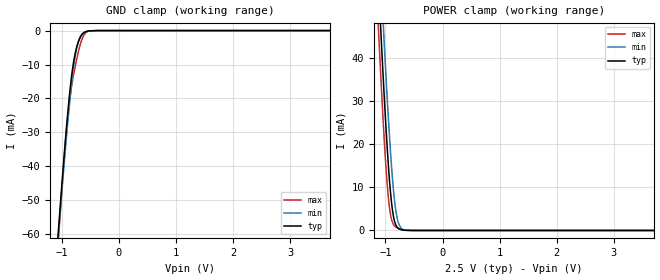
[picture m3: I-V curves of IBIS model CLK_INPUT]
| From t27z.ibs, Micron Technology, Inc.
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|   MODEL CLK_INPUT
[Model]   CLK_INPUT
Model_type   Input
Vinl = 0.940V
Vinh = 1.560V
|   typ   min   max
C_comp   1.59pF   1.2pF   1.99pF
[Model Spec]
| Input threshold voltage corners
Vinh   1.560V   1.460V   1.660V
Vinl   0.940V   0.840V   1.040V
| Overshoot/Undershoot
S_overshoot_high   2.800V   2.600V   3.000V
S_overshoot_low   -0.300V   NA   NA
[Receiver Thresholds]
Vcross_low   = 1.050V
Vcross_high  = 1.450V
Vdiff_ac   = 700mV
Vdiff_dc   = 360mV
Tdiffslew_ac = 10.000ns |Not specified, so set to high value
[Voltage Range]   2.500V   2.300V   2.700V
| Junction Temperature (Ambient temp is 25C typ, 70C min, 0C max)
[Temperature Range]   40.0   85.0   0.0
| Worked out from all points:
|   GND clamp passes 1 mA (typ) near -0.63 V on its own axis
|   POWER clamp passes 1 mA (typ) near -0.81 V on its own axis
[GND Clamp]
|   Voltage   I(typ)   I(min)   I(max)
-2.5V     -429.6mA   -396.8mA   -474.4mA
-1.08V    -64.04mA   NA         NA
-1.02V    -50.4mA    NA         NA
-910mV    -27.31mA   NA         -28.33mA
-870mV    -20.04mA   -22.88mA   NA
-810mV    -11.29mA   NA         NA
-755mV    -6.109mA   NA         NA
-710mV    -3.425mA   NA         NA
-650mV    -1.318mA   -1.122mA   NA
-595mV    -448.8uA   -422uA     -943.7uA
-372mV    0A         NA         NA
5V        0A         0A         0A
[POWER Clamp]
|   Voltage   I(typ)   I(min)   I(max)
-2.5V     484.5mA    493.7mA    477.4mA
-1.14V    62.29mA    NA         NA
-1.11V    54.01mA    NA         NA
-1.08V    45.94mA    NA         NA
-1.04V    35.61mA    NA         NA
-1.02V    30.68mA    NA         20.7mA
-965mV    18.31mA    NA         NA
-930mV    11.74mA    21.94mA    NA
-890mV    6.06mA     14.22mA    NA
-820mV    1.344mA    4.78mA     NA
-740mV    239.4uA    804.7uA    NA
5V        0A         0A         0A
